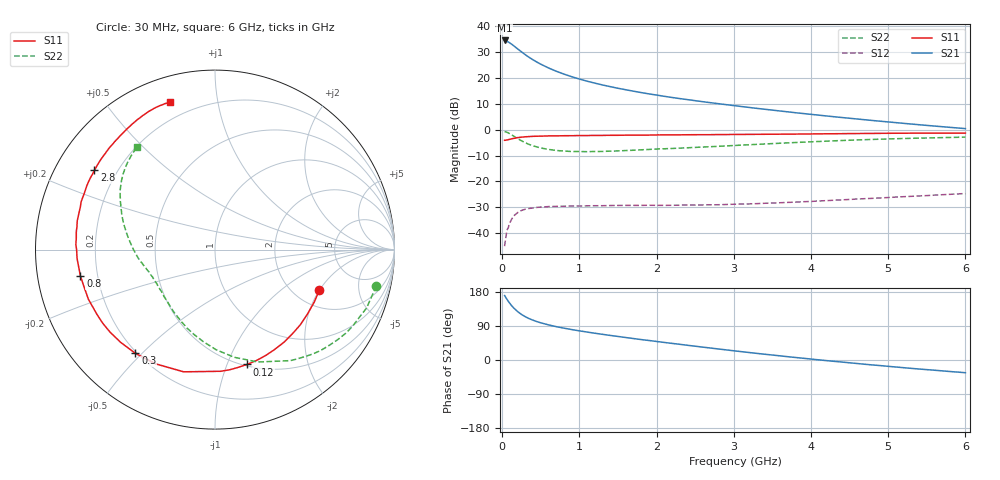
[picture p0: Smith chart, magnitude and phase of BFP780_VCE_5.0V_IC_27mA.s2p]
! Infineon Technologies  Discrete & RF Semiconductors
! BFP780
! VCE =  5.0 V,  IC =  27 mA
! Common Emitter S-Parameters:  Jul 2015
# GHz  S  MA  R  50
!  f  S11  S21  S12  S22
! GHz  MAG  ANG  MAG  ANG  MAG  ANG  MAG  ANG
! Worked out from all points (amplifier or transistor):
!   75 points, 30 MHz to 6 GHz, reference 50 ohm
!   highest |S21| = 34.5 dB at 30 MHz (marker M1)
!   |S21| within 3 dB of that: start of sweep to 187.8 MHz
!   unconditionally stable (mu >= 1): 2.169 GHz to end of sweep
!   at 150 MHz: K = 0.16, MSG = 32.8 dB, |S12| = -33.3 dB
!   at 2.3 GHz: K = 1.05, MAG = 19.3 dB, |S12| = -29.2 dB
!   at 6 GHz: K = 1.24, MAG = 9.6 dB, |S12| = -24.7 dB
!   S11 on the Smith chart (normalised r, x): 30 MHz: 2.70, -1.99; 120 MHz: 0.52, -1.18; 300 MHz: 0.19, -0.48; 800 MHz: 0.13, -0.10; 2.8 GHz: 0.12, +0.30; 6 GHz: 0.12, +0.73
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0.03  0.6236 -21.2  53.08 170.0  0.0056 63.3  0.9216 -12.7
0.05  0.628 -34.8  51.9 163.3  0.009 59.6  0.905 -21.1
0.08  0.6433 -53.1  49.34 154.3  0.013 60.3  0.8648 -32.6
0.1  0.6539 -64.3  47.25 148.9  0.0162 57.2  0.8312 -39.8
0.12  0.6643 -74.4  45.05 143.7  0.0185 52.1  0.798 -46.7
0.15  0.6787 -87.4  41.68 136.9  0.0217 47.2  0.7478 -55.8
0.2  0.703 -104.4  36.34 127.6  0.025 40.6  0.6705 -69.1
0.25  0.7174 -117.5  31.87 120.0  0.0275 34.7  0.6094 -79.9
0.3  0.7285 -127.5  28.03 114.0  0.0291 30.7  0.5576 -89.4
0.35  0.737 -135.4  24.91 109.0  0.0301 27.1  0.5172 -97.2
0.4  0.7437 -141.7  22.33 104.9  0.0306 24.8  0.4866 -104.0
0.5  0.7503 -151.4  18.41 98.1  0.0319 20.8  0.4428 -115.0
0.6  0.7576 -158.6  15.58 92.6  0.0326 18.0  0.4154 -123.9
0.8  0.7641 -168.9  11.85 84.0  0.0332 14.6  0.3866 -136.9
1.1  0.7705 -179.4  8.644 73.7  0.0337 12.3  0.3757 -150.0
1.5  0.7797 170.6  6.314 62.1  0.0343 11.3  0.3884 -161.3
2.1  0.7922 158.7  4.415 46.3  0.0344 11.5  0.4275 -172.9
2.8  0.8043 146.6  3.182 29.1  0.0354 14.3  0.4769 174.5
3.1  0.8103 141.8  2.802 22.0  0.0365 15.9  0.5029 169.1
4.1  0.83 127.2  1.91 0.4  0.0419 18.9  0.5914 153.1
5.1  0.854 115.5  1.369 -18.5  0.0498 18.3  0.6687 139.2
6  0.8602 107.1  1.049 -33.6  0.0583 14.9  0.7179 127.3
